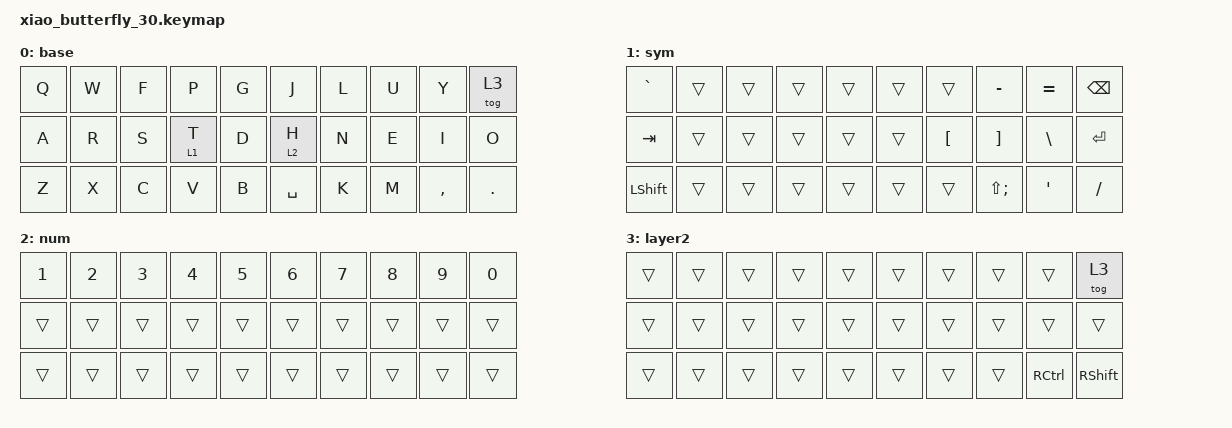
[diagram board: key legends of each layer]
// GENERATED FILE -- edit layout.txt and run generate-keymap.ps1 instead.
#include <behaviors.dtsi>
#include <dt-bindings/zmk/keys.h>
#include <dt-bindings/zmk/bt.h>
#include <dt-bindings/zmk/outputs.h>

/ {
    behaviors {
        // Hold T: tap = letter t, hold = sym layer (symbols).
        // Hold H: tap = letter h, hold = num layer (numbers).
        // "balanced" flavor: resolves to hold when another key is held
        // alongside it, not just tapped quickly in sequence.
        hold_layer: hold_layer {
            compatible = "zmk,behavior-hold-tap";
            #binding-cells = <2>;
            flavor = "balanced";
            tapping-term-ms = <200>;
            bindings = <&mo>, <&kp>;
            display-name = "Hold Layer";
        };
    };

    keymap {
        compatible = "zmk,keymap";

        base {
            bindings = <
&kp Q &kp W &kp F &kp P &kp G &kp J &kp L &kp U &kp Y &tog 3
&kp A &kp R &kp S &hold_layer 1 T &kp D &hold_layer 2 H &kp N &kp E &kp I &kp O
&kp Z &kp X &kp C &kp V &kp B &kp SPACE &kp K &kp M &kp COMMA &kp DOT
            >;
        };

        sym {
            bindings = <
&kp GRAVE &trans &trans &trans &trans &trans &trans &kp MINUS &kp EQUAL &kp BSPC
&kp TAB &trans &trans &trans &trans &trans &kp LBKT &kp RBKT &kp BSLH &kp ENTER
&kp LSHFT &trans &trans &trans &trans &trans &trans &kp LS(SEMI) &kp SQT &kp FSLH
            >;
        };

        num {
            bindings = <
&kp N1 &kp N2 &kp N3 &kp N4 &kp N5 &kp N6 &kp N7 &kp N8 &kp N9 &kp N0
&trans &trans &trans &trans &trans &trans &trans &trans &trans &trans
&trans &trans &trans &trans &trans &trans &trans &trans &trans &trans
            >;
        };

        layer2 {
            bindings = <
&trans &trans &trans &trans &trans &trans &trans &trans &trans &tog 3
&trans &trans &trans &trans &trans &trans &trans &trans &trans &trans
&trans &trans &trans &trans &trans &trans &trans &trans &kp RCTRL &kp RSHFT
            >;
        };
    };
};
